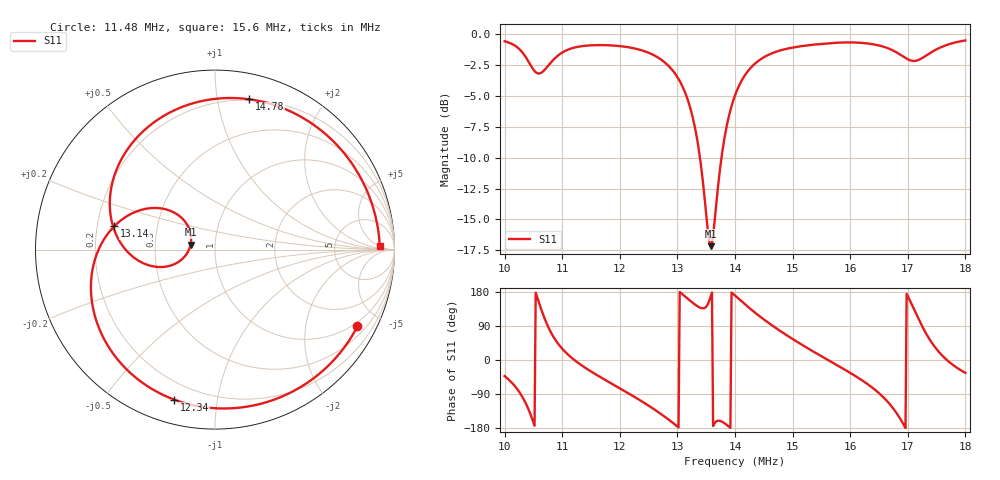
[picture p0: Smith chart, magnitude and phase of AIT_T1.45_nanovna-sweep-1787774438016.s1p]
! NanoVNA Web complex sweep
! Processing: original sample grid, no browser smoothing
# Hz S RI R 50
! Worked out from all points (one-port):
!   401 points, 10 MHz to 18 MHz, reference 50 ohm
!   lowest |S11| = -17.2 dB at 13.58 MHz (marker M1), VSWR 1.32, Z = 38 + j2.1 ohm
!   |S11| at or under -10 dB: 13.39 MHz to 13.77 MHz (373.7 kHz wide, 2.75 % of centre)
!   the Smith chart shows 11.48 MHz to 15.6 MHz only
!   S11 on the Smith chart (normalised r, x): 11.48 MHz: 0.83, -3.78; 12.34 MHz: 0.11, -0.76; 13.14 MHz: 0.27, +0.11; 14.78 MHz: 0.19, +1.24; 15.6 MHz: 22, +6
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1e7  0.6925 -0.6307
1.03e7  -0.0773 -0.8457
1.04e7  -0.4514 -0.6429
1.052e7  -0.7049 -0.0804
1.072e7  -0.1259 0.7174
1.1e7  0.7314 0.419
1.148e7  0.7929 -0.4284
1.2e7  0.2366 -0.8635
1.234e7  -0.2264 -0.8362
1.272e7  -0.6304 -0.4739
1.3e7  -0.6683 -0.053
1.314e7  -0.5605 0.1311
1.334e7  -0.3008 0.2297
1.358e7  -0.1359 0.0271
1.378e7  -0.3206 -0.0967
1.4e7  -0.5565 0.0971
1.43e7  -0.485 0.5622
1.478e7  0.192 0.8373
1.5e7  0.5016 0.7265
1.56e7  0.9182 0.0197
1.6e7  0.7687 -0.5141
1.66e7  -0.1846 -0.8676
1.68e7  -0.6373 -0.5555
1.7e7  -0.7756 0.1585
1.716e7  -0.3539 0.6984
1.73e7  0.2171 0.7848
1.758e7  0.8584 0.2223
1.8e7  0.7819 -0.5284
